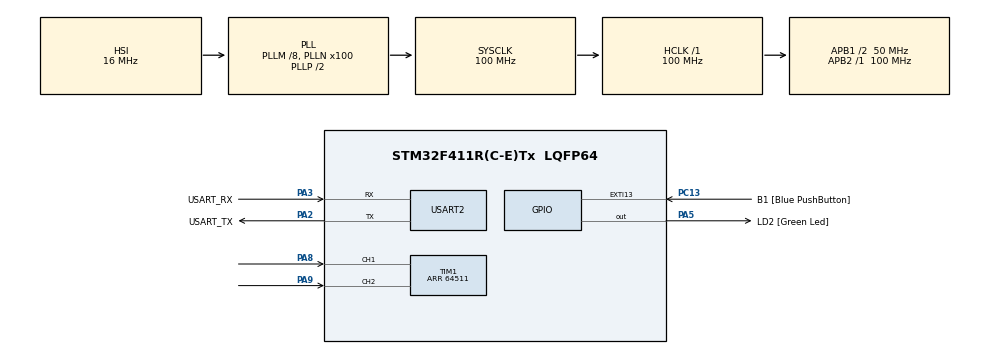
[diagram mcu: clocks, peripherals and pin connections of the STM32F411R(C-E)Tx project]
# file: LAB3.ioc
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Mcu.Family=STM32F4
Mcu.Name=STM32F411R(C-E)Tx
Mcu.Package=LQFP64
NVIC.PriorityGroup=NVIC_PRIORITYGROUP_0
NVIC.TIM1_TRG_COM_TIM11_IRQn=true\:0\:0\:false\:false\:true\:true\:true
NVIC.TIM3_IRQn=true\:0\:0\:false\:false\:true\:true\:true
PA13.GPIO_Label=TMS
PA13.Mode=Serial_Wire
PA13.Signal=SYS_JTMS-SWDIO
PA14.GPIO_Label=TCK
PA14.Mode=Serial_Wire
PA14.Signal=SYS_JTCK-SWCLK
PA2.GPIO_Label=USART_TX
PA2.Mode=Asynchronous
PA2.Signal=USART2_TX
PA3.GPIO_Label=USART_RX
PA3.Mode=Asynchronous
PA3.Signal=USART2_RX
PA5.GPIO_Label=LD2 [Green Led]
PA5.Signal=GPIO_Output
PA8.Signal=S_TIM1_CH1
PA9.Signal=S_TIM1_CH2
PB3.GPIO_Label=SWO
PB3.Signal=SYS_JTDO-SWO
PC13-ANTI_TAMP.GPIO_Label=B1 [Blue PushButton]
PC13-ANTI_TAMP.GPIO_ModeDefaultEXTI=GPIO_MODE_IT_FALLING
PC13-ANTI_TAMP.Signal=GPXTI13
PC14-OSC32_IN.Mode=LSE-External-Oscillator
PC14-OSC32_IN.Signal=RCC_OSC32_IN
PC15-OSC32_OUT.Mode=LSE-External-Oscillator
PC15-OSC32_OUT.Signal=RCC_OSC32_OUT
PH0\ -\ OSC_IN.Mode=HSE-External-Clock-Source
PH0\ -\ OSC_IN.Signal=RCC_OSC_IN
PH1\ -\ OSC_OUT.Mode=HSE-External-Clock-Source
PH1\ -\ OSC_OUT.Signal=RCC_OSC_OUT
ProjectManager.HeapSize=0x200
ProjectManager.StackSize=0x400
ProjectManager.TargetToolchain=STM32CubeIDE
RCC.48MHZClocksFreq_Value=50000000
RCC.AHBFreq_Value=100000000
RCC.APB1CLKDivider=RCC_HCLK_DIV2
RCC.APB1Freq_Value=50000000
RCC.APB1TimFreq_Value=100000000
RCC.APB2Freq_Value=100000000
RCC.APB2TimFreq_Value=100000000
RCC.CortexFreq_Value=100000000
RCC.FLatency-AdvancedSettings=FLASH_LATENCY_3
RCC.HCLKFreq_Value=100000000
RCC.HSE_VALUE=8000000
RCC.HSI_VALUE=16000000
RCC.PLLM=8
RCC.PLLN=100
RCC.SYSCLKFreq_VALUE=100000000
RCC.SYSCLKSource=RCC_SYSCLKSOURCE_PLLCLK
RCC.VCOOutputFreq_Value=200000000
SH.S_TIM1_CH1.0=TIM1_CH1,Encoder_Interface
SH.S_TIM1_CH2.0=TIM1_CH2,Encoder_Interface
TIM1.EncoderMode=TIM_ENCODERMODE_TI12
TIM1.Period=64511
TIM2.Prescaler=99
TIM3.Period=9999
TIM3.Prescaler=99
USART2.VirtualMode=VM_ASYNC
VP_TIM2_VS_ClockSourceINT.Mode=Internal
VP_TIM3_VS_ClockSourceINT.Mode=Internal
board=NUCLEO-F411RE

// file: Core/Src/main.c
/* USER CODE BEGIN Header */
/**
  ******************************************************************************
  * @file           : main.c
  * @brief          : Main program body
  ******************************************************************************
  * @attention
  *
  * Copyright (c) 2022 STMicroelectronics.
  * All rights reserved.
  *
  * This software is licensed under terms that can be found in the LICENSE file
  * in the root directory of this software component.
  * If no LICENSE file comes with this software, it is provided AS-IS.
  *
  ******************************************************************************
  */
/* USER CODE END Header */
#include "main.h"

/* USER CODE BEGIN Includes */
#define _USE_MATH_DEFINES
#define ARM_MATH_CM4
#include "arm_math.h"					//include library for matrix calculation
#include "math.h"						//include library for Pi value
/* USER CODE END Includes */

TIM_HandleTypeDef htim1;
TIM_HandleTypeDef htim2;
TIM_HandleTypeDef htim3;

UART_HandleTypeDef huart2;

/* USER CODE BEGIN PV */
uint64_t _micros = 0;							//time in microsecond
float DegRel =0;								//Degree Relative
float DegAbs =0;								//Degree Absolute
float RadRel =0;								//Radian Relative
float RadAbs =0;								//Radian Absolute
float unwrap=0;									//Degree Unwrap
float unwraprad = 0;							//Radian Unwrap
//Variable for Unwrapping function
float Po ;
float Polast;
float Pnlast;
//Variable for velocity approximate function
float omega=0;
float tetalast=0;
//Variable for kalman filter
float Rad_predict = 0;
float Omega_predict = 0;
//sample time in kalman
const float delta_T = 0.01;

//Kalman All Matrix define

float32_t X_f32[3] =//initial condition
{
  /* Const,   numTaps,   blockSize,   numTaps*blockSize */
  0.0,
  0.0,
  0.0,
};
float32_t U_f32[1] =//initial condition
{
  /* Const,   numTaps,   blockSize,   numTaps*blockSize */
  0.0
};
float32_t A_f32[9] =
{
  /* Const,   numTaps,   blockSize,   numTaps*blockSize */
  1.0,     delta_T,   delta_T*delta_T/2.0,
  0.0,     1.0,      delta_T,
  0.0,     0.0,      1.0

};
float32_t B_f32[3] =
{
  /* Const,   numTaps,   blockSize,   numTaps*blockSize */
  0,
  0,
  0
};
float32_t G_f32[3] =
{
  /* Const,   numTaps,   blockSize,   numTaps*blockSize */
  delta_T*delta_T*delta_T/6.0,
  delta_T*delta_T/2.0,
  delta_T
};
float32_t Q_f32[1] =
{
  /* Const,   numTaps,   blockSize,   numTaps*blockSize */
  0.01
};
//mesurement
float32_t C_f32[3] =
{
  /* Const,   numTaps,   blockSize,   numTaps*blockSize */
  1,	0,		0
};
/*const float32_t D_f32[1] =
{
  // Const,   numTaps,   blockSize,   numTaps*blockSize
  0
};*/
float32_t R_f32[1] =
{
  /* Const,   numTaps,   blockSize,   numTaps*blockSize */
  0.5
};
float32_t Z_f32[1] =//input unwrap
{
  //Const,   numTaps,   blockSize,   numTaps*blockSize
  0.0
};
float32_t Y_f32[1] =
{
  //Const,   numTaps,   blockSize,   numTaps*blockSize
  0.0
};
float32_t AT_f32[9];//3X3
float32_t CT_f32[3];//3X1
float32_t GT_f32[3];//1X3
float32_t Xp_f32[3];//3X1
float32_t Pp_f32[9];//3X3
float32_t P_f32[9]=
	{
		  /* Const,   numTaps,   blockSize,   numTaps*blockSize */
		  0.0,	0.0,	0.0,
		  0.0,	0.0,	0.0,
		  0.0,	0.0,	0.0,
	};//3X3
float32_t I_f32[9]=
	{
		  /* Const,   numTaps,   blockSize,   numTaps*blockSize */
		  1.0,	0.0,	0.0,
		  0.0,	1.0,	0.0,
		  0.0,	0.0,	1.0,
	};//3X3
float32_t S_f32[1];//1X1
float32_t K_f32[3];//3X1
float32_t GQGt_f32[9];//3X3
float32_t GQ_f32[3];//3X1
//calculation
float32_t AX_f32[3];//3X1
float32_t BU_f32[3];//3X1
//Xp
float32_t AP_f32[9];//3X3
float32_t APAt_f32[9];//3X3
//Pp
float32_t AX_f32[3];//3X1
float32_t CXp_f32[1];//1X1
float32_t CPp_f32[3];//1X3
float32_t CPpCt_f32[3];//1X3

float32_t PpCt_f32[3];//3X1
float32_t S_inv_f32[1];//1X1
float32_t KY_f32[3];//3X1
float32_t KC_f32[9];//3X3
float32_t I_KC_f32[9];//3X3

arm_matrix_instance_f32 A;      /* Matrix A Instance */
arm_matrix_instance_f32 AT;     /* Matrix AT(A transpose) */
arm_matrix_instance_f32 B;      /* Matrix B Instance */
arm_matrix_instance_f32 G;      /* Matrix G Instance */
arm_matrix_instance_f32 GT;     /* Matrix GT(G transpose) */
arm_matrix_instance_f32 Q;      /* Matrix Q Instance */
arm_matrix_instance_f32 C;      /* Matrix C Instance */
arm_matrix_instance_f32 CT;     /* Matrix CT(C transpose) */
arm_matrix_instance_f32 R;      /* Matrix R Instance */
arm_matrix_instance_f32 Y;      /* Matrix Y Instance */
arm_matrix_instance_f32 X;      /* Matrix X Instance */
arm_matrix_instance_f32 Xp;     /* Matrix Xp(X predict) */
arm_matrix_instance_f32 P;      /* Matrix P Instance */
arm_matrix_instance_f32 Pp;     /* Matrix Pp(P predict) */
arm_matrix_instance_f32 U;      /* Matrix U Instance */
arm_matrix_instance_f32 K;      /* Matrix K(kalman gain) Instance */
arm_matrix_instance_f32 S;      /* Matrix S Instance */
arm_matrix_instance_f32 Z;      /* Matrix Z Instance */
arm_matrix_instance_f32 GQ;     /* Matrix GQ Instance */
arm_matrix_instance_f32 GQGt;   /* Matrix GQGt Instance */
arm_matrix_instance_f32 AX;     /* Matrix Ax Instance */
arm_matrix_instance_f32 BU;     /* Matrix BU Instance */
arm_matrix_instance_f32 APAt;   /* Matrix APAt Instance */
arm_matrix_instance_f32 AP;     /* Matrix AP Instance */
arm_matrix_instance_f32 CXp;    /* Matrix CXp Instance */
arm_matrix_instance_f32 CPp;    /* Matrix CPp Instance */
arm_matrix_instance_f32 CPpCt;  /* Matrix CPpCt Instance */
arm_matrix_instance_f32 PpCt;   /* Matrix PpCt Instance */
arm_matrix_instance_f32 S_inv;  /* Matrix S_inv Instance */
arm_matrix_instance_f32 KY;     /* Matrix KY Instance */
arm_matrix_instance_f32 I;      /* Matrix I Instance */
arm_matrix_instance_f32 KC;     /* Matrix I Instance */
arm_matrix_instance_f32 I_KC;   /* Matrix I Instance */

/* USER CODE END PV */

void SystemClock_Config(void);
static void MX_GPIO_Init(void);
static void MX_USART2_UART_Init(void);
static void MX_TIM1_Init(void);
static void MX_TIM2_Init(void);
static void MX_TIM3_Init(void);
/* USER CODE BEGIN PFP */
//function prototype
uint64_t micros();
void UpdatePosition();
float unwapping(float Pn);
void velocityapproximate(float );
/* USER CODE END PFP */

int main(void)
{

  /* MCU Configuration--------------------------------------------------------*/

  /* Reset of all peripherals, Initializes the Flash interface and the Systick. */
  HAL_Init();

  /* Configure the system clock */
  SystemClock_Config();

  /* Initialize all configured peripherals */
  MX_GPIO_Init();
  MX_USART2_UART_Init();
  MX_TIM1_Init();
  MX_TIM2_Init();
  MX_TIM3_Init();
  /* USER CODE BEGIN 2 */

  uint32_t srcRows, srcColumns;
  //set rows and columns for matrix
  srcRows = 3;
  srcColumns = 3;
  arm_mat_init_f32(&A, srcRows, srcColumns, A_f32);
  arm_mat_init_f32(&AT, srcRows, srcColumns, AT_f32);
  arm_mat_trans_f32(&A, &AT);
  arm_mat_init_f32(&GQGt, srcRows, srcColumns, GQGt_f32);
  arm_mat_init_f32(&P, srcRows, srcColumns, P_f32);
  arm_mat_init_f32(&Pp, srcRows, srcColumns, Pp_f32);
  arm_mat_init_f32(&AP, srcRows, srcColumns, AP_f32);
  arm_mat_init_f32(&APAt, srcRows, srcColumns, APAt_f32);
  arm_mat_init_f32(&I, srcRows, srcColumns, I_f32);
  arm_mat_init_f32(&KC, srcRows, srcColumns, KC_f32);
  arm_mat_init_f32(&I_KC, srcRows, srcColumns, I_KC_f32);
  srcRows = 1;
  srcColumns = 3;
  arm_mat_init_f32(&C, srcRows, srcColumns, C_f32);
  arm_mat_init_f32(&GT, srcRows, srcColumns, GT_f32);
  arm_mat_init_f32(&CPp, srcRows, srcColumns, CPp_f32);
  arm_mat_init_f32(&CPpCt, srcRows, srcColumns, CPpCt_f32);
  srcRows = 3;
  srcColumns = 1;
  arm_mat_init_f32(&X, srcRows, srcColumns, X_f32);
  arm_mat_init_f32(&Xp, srcRows, srcColumns, Xp_f32);
  arm_mat_init_f32(&CT, srcRows, srcColumns, CT_f32);
  arm_mat_trans_f32(&C, &CT);
  arm_mat_init_f32(&G, srcRows, srcColumns, G_f32);
  arm_mat_trans_f32(&G, &GT);
  arm_mat_init_f32(&B, srcRows, srcColumns, B_f32);
  arm_mat_init_f32(&K, srcRows, srcColumns, K_f32);
  arm_mat_init_f32(&GQ, srcRows, srcColumns, GQ_f32);
  arm_mat_init_f32(&AX, srcRows, srcColumns, AX_f32);
  arm_mat_init_f32(&BU, srcRows, srcColumns, BU_f32);
  arm_mat_init_f32(&CPpCt, srcRows, srcColumns, CPpCt_f32);
  arm_mat_init_f32(&PpCt, srcRows, srcColumns, PpCt_f32);
  arm_mat_init_f32(&KY, srcRows, srcColumns, KY_f32);

  srcRows = 1;
  srcColumns = 1;
  arm_mat_init_f32(&Q, srcRows, srcColumns, Q_f32);
  arm_mat_init_f32(&U, srcRows, srcColumns, U_f32);
  arm_mat_init_f32(&R, srcRows, srcColumns, R_f32);
  arm_mat_init_f32(&Y, srcRows, srcColumns, Y_f32);
  arm_mat_init_f32(&S, srcRows, srcColumns, S_f32);
  arm_mat_init_f32(&Z, srcRows, srcColumns, Z_f32);
  arm_mat_init_f32(&S_inv, srcRows, srcColumns, S_inv_f32);
  arm_mat_mult_f32(&G,&Q,&GQ);
  arm_mat_mult_f32(&GQ,&GT,&GQGt);
  arm_mat_init_f32(&CXp, srcRows, srcColumns, CXp_f32);

  	HAL_TIM_Base_Start_IT(&htim3);
	HAL_TIM_Base_Start_IT(&htim2);
	HAL_TIM_Encoder_Start(&htim1, TIM_CHANNEL_1);
  /* USER CODE END 2 */

  /* Infinite loop */
  while (1)
  {

    /* USER CODE BEGIN 3 */
	  UpdatePosition();  //Update Degree and radian from QEI
  }
  /* USER CODE END 3 */
}

void SystemClock_Config(void)
{
  RCC_OscInitTypeDef RCC_OscInitStruct = {0};
  RCC_ClkInitTypeDef RCC_ClkInitStruct = {0};

  /** Configure the main internal regulator output voltage
  */
  __HAL_RCC_PWR_CLK_ENABLE();
  __HAL_PWR_VOLTAGESCALING_CONFIG(PWR_REGULATOR_VOLTAGE_SCALE1);
  /** Initializes the RCC Oscillators according to the specified parameters
  * in the RCC_OscInitTypeDef structure.
  */
  RCC_OscInitStruct.OscillatorType = RCC_OSCILLATORTYPE_HSI;
  RCC_OscInitStruct.HSIState = RCC_HSI_ON;
  RCC_OscInitStruct.HSICalibrationValue = RCC_HSICALIBRATION_DEFAULT;
  RCC_OscInitStruct.PLL.PLLState = RCC_PLL_ON;
  RCC_OscInitStruct.PLL.PLLSource = RCC_PLLSOURCE_HSI;
  RCC_OscInitStruct.PLL.PLLM = 8;
  RCC_OscInitStruct.PLL.PLLN = 100;
  RCC_OscInitStruct.PLL.PLLP = RCC_PLLP_DIV2;
  RCC_OscInitStruct.PLL.PLLQ = 4;
  if (HAL_RCC_OscConfig(&RCC_OscInitStruct) != HAL_OK)
  {
    Error_Handler();
  }
  /** Initializes the CPU, AHB and APB buses clocks
  */
  RCC_ClkInitStruct.ClockType = RCC_CLOCKTYPE_HCLK|RCC_CLOCKTYPE_SYSCLK
                              |RCC_CLOCKTYPE_PCLK1|RCC_CLOCKTYPE_PCLK2;
  RCC_ClkInitStruct.SYSCLKSource = RCC_SYSCLKSOURCE_PLLCLK;
  RCC_ClkInitStruct.AHBCLKDivider = RCC_SYSCLK_DIV1;
  RCC_ClkInitStruct.APB1CLKDivider = RCC_HCLK_DIV2;
  RCC_ClkInitStruct.APB2CLKDivider = RCC_HCLK_DIV1;

  if (HAL_RCC_ClockConfig(&RCC_ClkInitStruct, FLASH_LATENCY_3) != HAL_OK)
  {
    Error_Handler();
  }
}

static void MX_TIM1_Init(void)
{

  TIM_Encoder_InitTypeDef sConfig = {0};
  TIM_MasterConfigTypeDef sMasterConfig = {0};

  htim1.Instance = TIM1;
  htim1.Init.Prescaler = 0;
  htim1.Init.CounterMode = TIM_COUNTERMODE_UP;
  htim1.Init.Period = 64511;
  htim1.Init.ClockDivision = TIM_CLOCKDIVISION_DIV1;
  htim1.Init.RepetitionCounter = 0;
  htim1.Init.AutoReloadPreload = TIM_AUTORELOAD_PRELOAD_DISABLE;
  sConfig.EncoderMode = TIM_ENCODERMODE_TI12;
  sConfig.IC1Polarity = TIM_ICPOLARITY_RISING;
  sConfig.IC1Selection = TIM_ICSELECTION_DIRECTTI;
  sConfig.IC1Prescaler = TIM_ICPSC_DIV1;
  sConfig.IC1Filter = 0;
  sConfig.IC2Polarity = TIM_ICPOLARITY_RISING;
  sConfig.IC2Selection = TIM_ICSELECTION_DIRECTTI;
  sConfig.IC2Prescaler = TIM_ICPSC_DIV1;
  sConfig.IC2Filter = 0;
  if (HAL_TIM_Encoder_Init(&htim1, &sConfig) != HAL_OK)
  {
    Error_Handler();
  }
  sMasterConfig.MasterOutputTrigger = TIM_TRGO_RESET;
  sMasterConfig.MasterSlaveMode = TIM_MASTERSLAVEMODE_DISABLE;
  if (HAL_TIMEx_MasterConfigSynchronization(&htim1, &sMasterConfig) != HAL_OK)
  {
    Error_Handler();
  }

}

static void MX_TIM2_Init(void)
{

  TIM_ClockConfigTypeDef sClockSourceConfig = {0};
  TIM_MasterConfigTypeDef sMasterConfig = {0};

  htim2.Instance = TIM2;
  htim2.Init.Prescaler = 99;
  htim2.Init.CounterMode = TIM_COUNTERMODE_UP;
  htim2.Init.Period = 4294967295;
  htim2.Init.ClockDivision = TIM_CLOCKDIVISION_DIV1;
  htim2.Init.AutoReloadPreload = TIM_AUTORELOAD_PRELOAD_DISABLE;
  if (HAL_TIM_Base_Init(&htim2) != HAL_OK)
  {
    Error_Handler();
  }
  sClockSourceConfig.ClockSource = TIM_CLOCKSOURCE_INTERNAL;
  if (HAL_TIM_ConfigClockSource(&htim2, &sClockSourceConfig) != HAL_OK)
  {
    Error_Handler();
  }
  sMasterConfig.MasterOutputTrigger = TIM_TRGO_RESET;
  sMasterConfig.MasterSlaveMode = TIM_MASTERSLAVEMODE_DISABLE;
  if (HAL_TIMEx_MasterConfigSynchronization(&htim2, &sMasterConfig) != HAL_OK)
  {
    Error_Handler();
  }

}

static void MX_TIM3_Init(void)
{

  TIM_ClockConfigTypeDef sClockSourceConfig = {0};
  TIM_MasterConfigTypeDef sMasterConfig = {0};

  htim3.Instance = TIM3;
  htim3.Init.Prescaler = 99;
  htim3.Init.CounterMode = TIM_COUNTERMODE_UP;
  htim3.Init.Period = 9999;
  htim3.Init.ClockDivision = TIM_CLOCKDIVISION_DIV1;
  htim3.Init.AutoReloadPreload = TIM_AUTORELOAD_PRELOAD_DISABLE;
  if (HAL_TIM_Base_Init(&htim3) != HAL_OK)
  {
    Error_Handler();
  }
  sClockSourceConfig.ClockSource = TIM_CLOCKSOURCE_INTERNAL;
  if (HAL_TIM_ConfigClockSource(&htim3, &sClockSourceConfig) != HAL_OK)
  {
    Error_Handler();
  }
  sMasterConfig.MasterOutputTrigger = TIM_TRGO_RESET;
  sMasterConfig.MasterSlaveMode = TIM_MASTERSLAVEMODE_DISABLE;
  if (HAL_TIMEx_MasterConfigSynchronization(&htim3, &sMasterConfig) != HAL_OK)
  {
    Error_Handler();
  }

}

static void MX_USART2_UART_Init(void)
{

  huart2.Instance = USART2;
  huart2.Init.BaudRate = 115200;
  huart2.Init.WordLength = UART_WORDLENGTH_8B;
  huart2.Init.StopBits = UART_STOPBITS_1;
  huart2.Init.Parity = UART_PARITY_NONE;
  huart2.Init.Mode = UART_MODE_TX_RX;
  huart2.Init.HwFlowCtl = UART_HWCONTROL_NONE;
  huart2.Init.OverSampling = UART_OVERSAMPLING_16;
  if (HAL_UART_Init(&huart2) != HAL_OK)
  {
    Error_Handler();
  }

}

static void MX_GPIO_Init(void)
{
  GPIO_InitTypeDef GPIO_InitStruct = {0};

  /* GPIO Ports Clock Enable */
  __HAL_RCC_GPIOC_CLK_ENABLE();
  __HAL_RCC_GPIOH_CLK_ENABLE();
  __HAL_RCC_GPIOA_CLK_ENABLE();
  __HAL_RCC_GPIOB_CLK_ENABLE();

  /*Configure GPIO pin Output Level */
  HAL_GPIO_WritePin(LD2_GPIO_Port, LD2_Pin, GPIO_PIN_RESET);

  /*Configure GPIO pin : B1_Pin */
  GPIO_InitStruct.Pin = B1_Pin;
  GPIO_InitStruct.Mode = GPIO_MODE_IT_FALLING;
  GPIO_InitStruct.Pull = GPIO_NOPULL;
  HAL_GPIO_Init(B1_GPIO_Port, &GPIO_InitStruct);

  /*Configure GPIO pin : LD2_Pin */
  GPIO_InitStruct.Pin = LD2_Pin;
  GPIO_InitStruct.Mode = GPIO_MODE_OUTPUT_PP;
  GPIO_InitStruct.Pull = GPIO_NOPULL;
  GPIO_InitStruct.Speed = GPIO_SPEED_FREQ_LOW;
  HAL_GPIO_Init(LD2_GPIO_Port, &GPIO_InitStruct);

}

/* USER CODE BEGIN 4 */
void UpdatePosition(){
	static uint64_t TimestampCalculationLoop  =0;
	if(micros() -TimestampCalculationLoop >=1000){	//Update every 1000 Hz
		uint16_t RawRead = TIM1->CNT;
		DegRel = (RawRead/3072.0)*360;
		DegAbs =((RawRead%3072)/3072.0)*360;

		RadRel =(RawRead/3072.0)*(2*M_PI);
		RadAbs =((RawRead%3072)/3072.0)*(2*M_PI);

	}
}
void velocityapproximate(float teta){
	omega = 100.0*(teta-tetalast);
	tetalast = teta;
}
void HAL_TIM_PeriodElapsedCallback(TIM_HandleTypeDef *htim)
{
	if (htim == &htim2)
	{
		_micros += 4294967295;
	}
	if (htim == &htim3){
			unwrap = unwapping(DegRel);
			unwraprad = unwrap*M_PI/180.0;
			velocityapproximate(unwraprad);
			// Kalman Calcultation
			Z_f32[0] = unwraprad;
			//Xp
			arm_mat_mult_f32(&A,&X,&AX);  		//A * X = AX
			arm_mat_mult_f32(&B,&U,&BU);  		//B * U = BU
			arm_mat_add_f32(&AX,&BU,&Xp); 		//AX * BU = Xp
			//Pp
			arm_mat_mult_f32(&A,&P,&AP);      	//A * P = AP
			arm_mat_mult_f32(&AP,&AT,&APAt);  	//AP * AT = APAt
			arm_mat_add_f32(&APAt,&GQGt,&Pp); 	//APAt * GQGt = Pp
			//Y
			arm_mat_mult_f32(&C,&Xp,&CXp);		//C * Xp = CXp
			arm_mat_sub_f32(&Z,&CXp,&Y);		//Z * CXp = Y
			//S
			arm_mat_mult_f32(&C,&Pp,&CPp);		//C * Pp = CPp
			arm_mat_mult_f32(&CPp,&CT,&CPpCt);	//CPp * CT = CPpCt
			arm_mat_add_f32(&CPpCt,&R,&S);		//CPpCt * R = S
			//K
			arm_mat_mult_f32(&Pp,&CT,&PpCt);	//Pp * CT = PpCt
			arm_mat_inverse_f32(&S,&S_inv);		//S = S_invert
			arm_mat_mult_f32(&PpCt,&S_inv,&K);	//PpCt * S_Invert = K
			//X
			arm_mat_mult_f32(&K,&Y,&KY);		//K * Y = KY
			arm_mat_add_f32(&KY,&Xp,&X);		//KY * Xp = X
			//P
			arm_mat_mult_f32(&K,&C,&KC);		//K * C = KC
			arm_mat_sub_f32(&I,&KC,&I_KC);		//I - KC = I-KC
			arm_mat_mult_f32(&I_KC,&Pp,&P);		//I-KC * Pp = P

			Rad_predict = X_f32[0];
			Omega_predict = X_f32[1];
		}
}
uint64_t micros()
{
	return _micros + htim2.Instance->CNT;
}
float unwapping(float Pn){		//Upwrapping
	static float Pmax = 7560;   //360*21 (21 rounds 1 unwrap)
	static float threshold = 7560*0.5;
	if (Pn-Pnlast <= -threshold){
		Po = Polast + Pmax;
	}
	else if (Pn - Pnlast >= threshold){
		Po = Polast - Pmax;
	}
	else{
		Po = Polast;
	}
	Polast = Po;
	Pnlast = Pn;
	return Pn+Po;
}
/* USER CODE END 4 */

void Error_Handler(void)
{
  __disable_irq();
  while (1)
  {
  }
}
